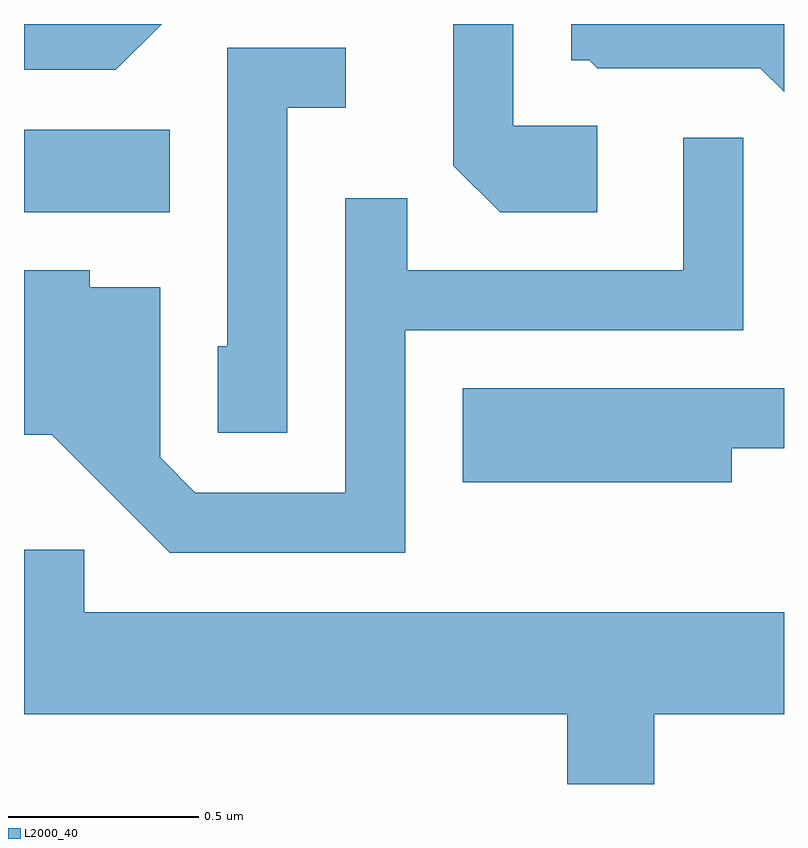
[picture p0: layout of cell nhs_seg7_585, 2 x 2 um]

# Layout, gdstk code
import gdstk
lib = gdstk.Library(unit=1e-6, precision=1e-09)
def R(c, l, rs):  # rectangles x0, y0, x1, y1
    for r in rs: c.add(gdstk.rectangle(r[:2], r[2:], *l))
def P(c, l, *ps):  # polygons
    for p in ps: c.add(gdstk.Polygon(p, *l))
L2000_40 = (2000, 40)

nhs_seg7_585 = lib.new_cell('nhs_seg7_585')
R(nhs_seg7_585, L2000_40, [(189.611,1706.756,189.994,1706.974)])
P(nhs_seg7_585, L2000_40, [(189.973,1707.252),(189.611,1707.252),(189.611,1707.131),(189.852,1707.131)],
  [(191.119,1706.984),(190.899,1706.984),(190.899,1707.252),(190.741,1707.252),(190.741,1706.879),(190.864,1706.756),(191.119,1706.756)],
  [(191.611,1707.252),(191.051,1707.252),(191.051,1707.156),(191.099,1707.156),(191.119,1707.136),(191.549,1707.136),(191.611,1707.074)],
  [(190.304,1707.031),(190.458,1707.031),(190.458,1707.189),(190.146,1707.189),(190.146,1706.404),(190.121,1706.404),(190.121,1706.176),(190.304,1706.176)],
  [(190.614,1706.446),(191.504,1706.446),(191.504,1706.953),(191.346,1706.953),(191.346,1706.604),(190.619,1706.604),(190.619,1706.793),(190.456,1706.793),(190.456,1706.019),(190.062,1706.019),(189.969,1706.112),(189.969,1706.559),(189.784,1706.559),(189.784,1706.604),(189.611,1706.604),(189.611,1706.171),(189.684,1706.171),(189.994,1705.861),(190.614,1705.861)],
  [(191.474,1706.136),(191.611,1706.136),(191.611,1706.294),(190.766,1706.294),(190.766,1706.046),(191.474,1706.046)],
  [(191.269,1705.436),(191.611,1705.436),(191.611,1705.704),(189.769,1705.704),(189.769,1705.869),(189.611,1705.869),(189.611,1705.436),(191.041,1705.436),(191.041,1705.252),(191.269,1705.252)])

lib.write_gds('nhs_seg7_585.gds')
